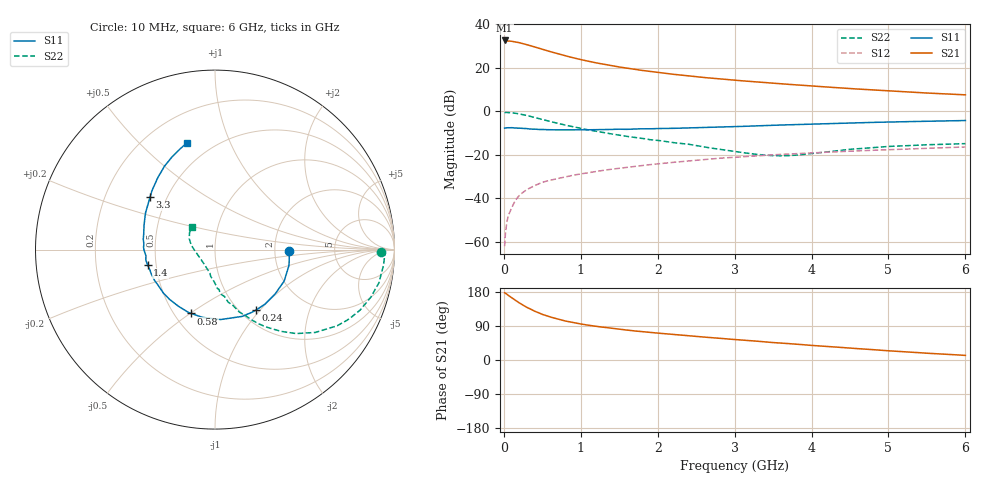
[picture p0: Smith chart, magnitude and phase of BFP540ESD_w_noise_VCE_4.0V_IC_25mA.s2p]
! Infineon Technologies  Discrete & RF Semiconductors
! BFP540ESD
! VCE =  4.0 V,  IC =  25 mA
! Common Emitter S-Parameters:  Nov 2015
# GHz  S  MA  R  50
!  f  S11  S21  S12  S22
! GHz  MAG  ANG  MAG  ANG  MAG  ANG  MAG  ANG
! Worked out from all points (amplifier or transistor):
!   210 points, 10 MHz to 6 GHz, reference 50 ohm
!   highest |S21| = 32.6 dB at 10 MHz (marker M1)
!   |S21| within 3 dB of that: start of sweep to 402.2 MHz
!   unconditionally stable (mu >= 1): start of sweep to 18.82 MHz; 2.031 GHz to end of sweep
!   at 185 MHz: K = 0.30, MSG = 35.5 dB, |S12| = -39.3 dB
!   at 1.52 GHz: K = 0.92, MSG = 23.2 dB, |S12| = -26.1 dB
!   at 6 GHz: K = 1.11, MAG = 10.0 dB, |S12| = -16.4 dB
!   lowest NFmin = 1.29 dB at 900 MHz
!   S11 on the Smith chart (normalised r, x): 10 MHz: 2.40, -0.05; 240 MHz: 1.18, -0.95; 580 MHz: 0.61, -0.51; 1.4 GHz: 0.45, -0.09; 3.3 GHz: 0.40, +0.30; 6 GHz: 0.37, +0.71
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0.01  0.4128 -1.2  42.56 177.4  0.0008 64.0  0.9243 -1.0
0.02  0.4155 -5.0  41.81 176.4  0.0015 55.7  0.9465 -1.6
0.05  0.4216 -11.9  41.64 171.8  0.0036 77.3  0.9428 -5.4
0.1  0.4234 -24.5  40.84 164.5  0.0059 80.8  0.9317 -11.5
0.15  0.4164 -36.3  39.5 157.5  0.009 74.5  0.9072 -17.1
0.2  0.4121 -47.6  37.83 150.8  0.0116 71.8  0.8761 -22.6
0.24  0.4072 -55.7  36.32 145.9  0.0134 70.6  0.8477 -26.4
0.3  0.4017 -67.9  34.08 138.8  0.016 68.8  0.8027 -31.9
0.4  0.3909 -85.4  30.21 128.8  0.0197 67.3  0.7243 -39.6
0.5  0.384 -100.6  26.8 120.4  0.0234 64.1  0.6502 -46.0
0.58  0.3795 -110.4  24.25 115.1  0.0256 62.8  0.5986 -49.9
0.7  0.3756 -123.0  21.13 108.0  0.0286 60.5  0.5311 -55.3
0.8  0.3755 -132.4  18.88 102.9  0.0311 60.5  0.4823 -59.4
1.02  0.374 -147.9  15.2 94.5  0.037 59.8  0.3993 -65.8
1.4  0.3853 -167.3  11.22 83.6  0.0468 58.3  0.3031 -75.8
2.02  0.404 171.6  7.766 70.6  0.0627 55.2  0.2134 -86.9
2.56  0.425 157.3  6.1 61.2  0.0769 51.5  0.1563 -97.5
3.1  0.4518 145.3  5.031 52.6  0.0903 47.3  0.1133 -114.1
3.3  0.4647 141.1  4.722 49.5  0.0954 45.5  0.1025 -124.8
4.1  0.5173 127.0  3.726 37.2  0.1131 38.4  0.112 -176.4
5.1  0.5738 113.6  2.895 23.1  0.1337 29.4  0.1588 154.5
6  0.6158 104.6  2.397 12.1  0.152 22.5  0.1816 135.2
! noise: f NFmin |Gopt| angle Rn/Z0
0.9  1.29  0.34  -137  0.12
1.8  1.44  0.36  -143  0.12
2.4  1.47  0.37  -133  0.13
3  1.58  0.39  -128  0.15
4  1.65  0.49  -105  0.26
5  1.76  0.57  -87  0.4
6  2.09  0.56  -87  0.63
